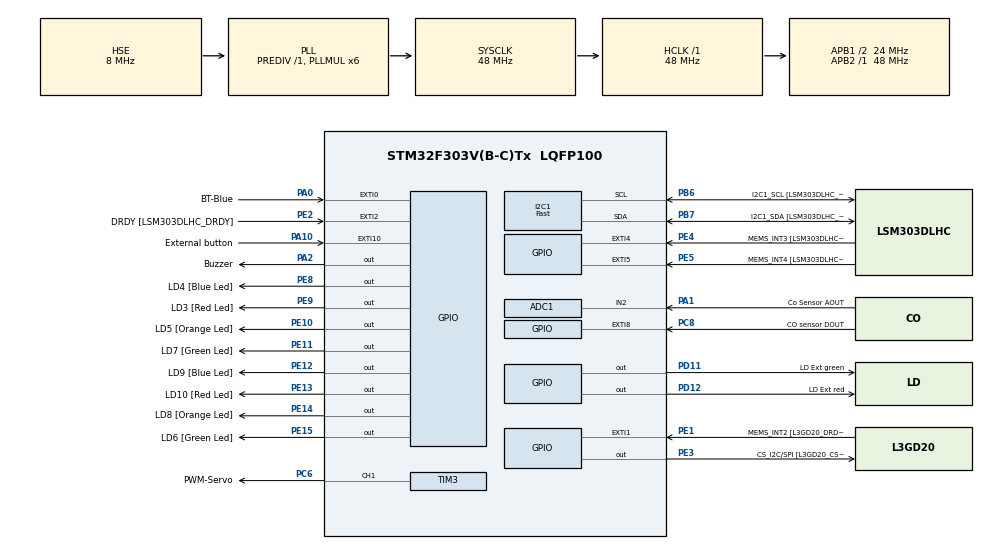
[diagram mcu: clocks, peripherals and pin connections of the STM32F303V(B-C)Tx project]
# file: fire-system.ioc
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ADC1.Channel-6\#ChannelRegularConversion=ADC_CHANNEL_2
ADC1.NbrOfConversionFlag=1
ADC1.Offset-6\#ChannelRegularConversion=0
ADC1.OffsetNumber-6\#ChannelRegularConversion=ADC_OFFSET_NONE
ADC1.Rank-6\#ChannelRegularConversion=1
ADC1.SamplingTime-6\#ChannelRegularConversion=ADC_SAMPLETIME_1CYCLE_5
ADC1.master=1
I2C1.I2C_Speed_Mode=I2C_Fast
I2C1.Timing=0x0000020B
Mcu.Family=STM32F3
Mcu.Name=STM32F303V(B-C)Tx
Mcu.Package=LQFP100
NVIC.EXTI0_IRQn=true\:0\:0\:false\:false\:true\:true\:true\:true
NVIC.EXTI15_10_IRQn=true\:0\:0\:false\:false\:true\:true\:true\:true
NVIC.EXTI9_5_IRQn=true\:0\:0\:false\:false\:true\:true\:true\:true
NVIC.PriorityGroup=NVIC_PRIORITYGROUP_0
NVIC.TIM2_IRQn=true\:0\:0\:false\:false\:true\:true\:true\:true
PA0.GPIO_Label=BT-Blue
PA0.Signal=GPXTI0
PA1.GPIO_Label=Co Sensor AOUT
PA1.Signal=SharedAnalog_PA1
PA10.GPIO_Label=External button
PA10.Signal=GPXTI10
PA11.GPIO_Label=DM
PA11.Signal=USB_DM
PA12.GPIO_Label=DP
PA12.Signal=USB_DP
PA13.GPIO_Label=SWDIO
PA13.Mode=Serial_Wire
PA13.Signal=SYS_JTMS-SWDIO
PA14.GPIO_Label=SWCLK
PA14.Mode=Serial_Wire
PA14.Signal=SYS_JTCK-SWCLK
PA15.Signal=S_TIM2_CH1_ETR
PA2.GPIO_Label=Buzzer
PA2.Signal=GPIO_Output
PA5.GPIO_Label=SPI1_SCK [L3GD20_SCL/SPC]
PA5.Signal=SPI1_SCK
PA6.GPIO_Label=SPI1_MISO [L3GD20_SA0/SDO]
PA6.Signal=SPI1_MISO
PA7.GPIO_Label=SPI1_MISO [L3GD20_SDA/SDI/SDO]
PA7.Signal=SPI1_MOSI
PB3.GPIO_Label=SWO
PB3.Signal=SYS_JTDO-TRACESWO
PB6.GPIO_Label=I2C1_SCL [LSM303DLHC_SCL]
PB6.GPIO_Pu=GPIO_PULLUP
PB6.Mode=I2C
PB6.Signal=I2C1_SCL
PB7.GPIO_Label=I2C1_SDA [LSM303DLHC_SDA]
PB7.GPIO_Pu=GPIO_PULLUP
PB7.Mode=I2C
PB7.Signal=I2C1_SDA
PC14-OSC32_IN.GPIO_Label=OSC32_IN
PC14-OSC32_IN.Signal=RCC_OSC32_IN
PC15-OSC32_OUT.GPIO_Label=OSC32_OUT
PC15-OSC32_OUT.Signal=RCC_OSC32_OUT
PC6.GPIO_Label=PWM-Servo
PC6.Signal=S_TIM3_CH1
PC8.GPIO_Label=CO sensor DOUT
PC8.Signal=GPXTI8
PD11.GPIO_Label=LD Ext green
PD11.Signal=GPIO_Output
PD12.GPIO_Label=LD Ext red
PD12.Signal=GPIO_Output
PE1.GPIO_Label=MEMS_INT2 [L3GD20_DRDY/INT2]
PE1.GPIO_ModeDefaultEXTI=GPIO_MODE_EVT_RISING
PE1.Signal=GPXTI1
PE10.GPIO_Label=LD5 [Orange Led]
PE10.Signal=GPIO_Output
PE11.GPIO_Label=LD7 [Green Led]
PE11.Signal=GPIO_Output
PE12.GPIO_Label=LD9 [Blue Led]
PE12.Signal=GPIO_Output
PE13.GPIO_Label=LD10 [Red Led]
PE13.Signal=GPIO_Output
PE14.GPIO_Label=LD8 [Orange Led]
PE14.Signal=GPIO_Output
PE15.GPIO_Label=LD6 [Green Led]
PE15.Signal=GPIO_Output
PE2.GPIO_Label=DRDY [LSM303DLHC_DRDY]
PE2.GPIO_ModeDefaultEXTI=GPIO_MODE_EVT_RISING
PE2.Signal=GPXTI2
PE3.GPIO_Label=CS_I2C/SPI [L3GD20_CS_I2C/SPI]
PE3.Signal=GPIO_Output
PE4.GPIO_Label=MEMS_INT3 [LSM303DLHC_INT1]
PE4.GPIO_ModeDefaultEXTI=GPIO_MODE_EVT_RISING
PE4.Signal=GPXTI4
PE5.GPIO_Label=MEMS_INT4 [LSM303DLHC_INT2]
PE5.GPIO_ModeDefaultEXTI=GPIO_MODE_EVT_RISING
PE5.Signal=GPXTI5
PE8.GPIO_Label=LD4 [Blue Led]
PE8.Signal=GPIO_Output
PE9.GPIO_Label=LD3 [Red Led]
PE9.Signal=GPIO_Output
PF0-OSC_IN.GPIO_Label=OSC_IN
PF0-OSC_IN.Mode=HSE-External-Oscillator
PF0-OSC_IN.Signal=RCC_OSC_IN
PF1-OSC_OUT.GPIO_Label=OSC_OUT
PF1-OSC_OUT.Mode=HSE-External-Oscillator
PF1-OSC_OUT.Signal=RCC_OSC_OUT
ProjectManager.HeapSize=0x200
ProjectManager.StackSize=0x400
ProjectManager.TargetToolchain=STM32CubeIDE
RCC.AHBFreq_Value=48000000
RCC.APB1CLKDivider=RCC_HCLK_DIV2
RCC.APB1Freq_Value=24000000
RCC.APB1TimFreq_Value=48000000
RCC.APB2Freq_Value=48000000
RCC.APB2TimFreq_Value=48000000
RCC.CortexFreq_Value=48000000
RCC.HCLKFreq_Value=48000000
RCC.HSE_VALUE=8000000
RCC.HSI_VALUE=8000000
RCC.LSE_VALUE=32768
RCC.PLLMUL=RCC_PLL_MUL6
RCC.PLLSourceVirtual=RCC_PLLSOURCE_HSE
RCC.SYSCLKFreq_VALUE=48000000
RCC.SYSCLKSourceVirtual=RCC_SYSCLKSOURCE_PLLCLK
RCC.USBFreq_Value=48000000
SH.S_TIM2_CH1_ETR.0=TIM2_CH1
SH.S_TIM3_CH1.0=TIM3_CH1,PWM Generation1 CH1
SH.SharedAnalog_PA1.0=GPIO_Analog
SH.SharedAnalog_PA1.1=ADC1_IN2,IN2-Single-Ended
TIM2.AutoReloadPreload=TIM_AUTORELOAD_PRELOAD_DISABLE
TIM2.Period=1000000-1
TIM2.Prescaler=47
TIM3.Channel-PWM\ Generation1\ CH1=TIM_CHANNEL_1
TIM3.Period=20000-1
TIM3.Prescaler=47
VP_TIM2_VS_ClockSourceINT.Mode=Internal
VP_TIM3_VS_ClockSourceINT.Mode=Internal
board=STM32F3DISCOVERY

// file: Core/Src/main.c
/* USER CODE BEGIN Header */
/**
  ******************************************************************************
  * @file           : main.c
  * @brief          : Main program body
  ******************************************************************************
  * @attention
  *
  * Copyright (c) 2023 STMicroelectronics.
  * All rights reserved.
  *
  * This software is licensed under terms that can be found in the LICENSE file
  * in the root directory of this software component.
  * If no LICENSE file comes with this software, it is provided AS-IS.
  *
  ******************************************************************************
  */
/* USER CODE END Header */
#include "main.h"

/* USER CODE BEGIN Includes */
#include "ssd1306.h"
#include <math.h>
#include <stdio.h>

/* USER CODE END Includes */

/* USER CODE BEGIN PD */
#define R0 35816.0

#define BLUE_BUTTON_MASK 0x0001
#define EXT_BUTTON_MASK  0x0400
#define EXT_CO_SENSOR    0x0100

#define ADC_RESOLUTION 4095.0

/* USER CODE END PD */

ADC_HandleTypeDef hadc1;

I2C_HandleTypeDef hi2c1;

TIM_HandleTypeDef htim2;
TIM_HandleTypeDef htim3;

/* USER CODE BEGIN PV */
int on = 1;
int on_fire = 0;

// 'Among-Us-Symbol', 128x64px
const unsigned char amongus_bitmap[] = {
	0xff, 0xff, 0xff, 0xff, 0xff, 0xff, 0xff, 0xff, 0xff, 0xff, 0xff, 0xff, 0xff, 0xff, 0xff, 0xff,
	0xff, 0xff, 0xff, 0xff, 0xff, 0xff, 0xff, 0xff, 0xff, 0xff, 0xff, 0xff, 0xff, 0xff, 0xff, 0xff,
	0xff, 0xff, 0xff, 0xff, 0xff, 0xff, 0xff, 0xe0, 0x00, 0xff, 0xff, 0xff, 0xff, 0xff, 0xff, 0xff,
	0xff, 0xff, 0xff, 0xff, 0xff, 0xff, 0xff, 0x80, 0x00, 0x1f, 0xff, 0xff, 0xff, 0xff, 0xff, 0xff,
	0xff, 0xff, 0xff, 0xff, 0xff, 0xff, 0xff, 0x00, 0x00, 0x07, 0xff, 0xff, 0xff, 0xff, 0xff, 0xff,
	0xff, 0xff, 0xff, 0xff, 0xff, 0xff, 0xfe, 0x00, 0x00, 0x03, 0xff, 0xff, 0xff, 0xff, 0xff, 0xff,
	0xff, 0xff, 0xff, 0xff, 0xff, 0xff, 0xfc, 0x00, 0x00, 0x01, 0xff, 0xff, 0xff, 0xff, 0xff, 0xff,
	0xff, 0xff, 0xff, 0xff, 0xff, 0xff, 0xfc, 0x00, 0x00, 0x00, 0xff, 0xff, 0xff, 0xff, 0xff, 0xff,
	0xff, 0xff, 0xff, 0xff, 0xff, 0xff, 0xf8, 0x00, 0x00, 0x00, 0x7f, 0xff, 0xff, 0xff, 0xff, 0xff,
	0xff, 0xff, 0xff, 0xff, 0xff, 0xff, 0xf8, 0x00, 0x00, 0x00, 0x7f, 0xff, 0xff, 0xff, 0xff, 0xff,
	0xff, 0xff, 0xff, 0xff, 0xff, 0xff, 0xf0, 0x00, 0x00, 0x00, 0x3f, 0xff, 0xff, 0xff, 0xff, 0xff,
	0xff, 0xff, 0xff, 0xff, 0xff, 0xff, 0xf0, 0x00, 0x00, 0x00, 0x3f, 0xff, 0xff, 0xff, 0xff, 0xff,
	0xff, 0xff, 0xff, 0xff, 0xff, 0xff, 0xf0, 0x00, 0x00, 0x00, 0x1f, 0xff, 0xff, 0xff, 0xff, 0xff,
	0xff, 0xff, 0xff, 0xff, 0xff, 0xff, 0xe0, 0x00, 0x01, 0xe0, 0x0f, 0xff, 0xff, 0xff, 0xff, 0xff,
	0xff, 0xff, 0xff, 0xff, 0xff, 0xff, 0xe0, 0x00, 0x3f, 0xfe, 0x07, 0xff, 0xff, 0xff, 0xff, 0xff,
	0xff, 0xff, 0xff, 0xff, 0xff, 0xff, 0xe0, 0x00, 0x7f, 0xff, 0x83, 0xff, 0xff, 0xff, 0xff, 0xff,
	0xff, 0xff, 0xff, 0xff, 0xff, 0xff, 0xe0, 0x00, 0x3f, 0xff, 0xc3, 0xff, 0xff, 0xff, 0xff, 0xff,
	0xff, 0xff, 0xff, 0xff, 0xff, 0xff, 0x80, 0x00, 0x3f, 0xff, 0xe1, 0xff, 0xff, 0xff, 0xff, 0xff,
	0xff, 0xff, 0xff, 0xff, 0xff, 0xf8, 0x00, 0x00, 0x3f, 0xff, 0xe1, 0xff, 0xff, 0xff, 0xff, 0xff,
	0xff, 0xff, 0xff, 0xff, 0xff, 0xf0, 0x00, 0x00, 0x1f, 0xff, 0xe1, 0xff, 0xff, 0xff, 0xff, 0xff,
	0xff, 0xff, 0xff, 0xff, 0xff, 0xe0, 0x00, 0x00, 0x0f, 0xff, 0xc1, 0xff, 0xff, 0xff, 0xff, 0xff,
	0xff, 0xff, 0xff, 0xff, 0xff, 0xe0, 0x00, 0x00, 0x01, 0xe0, 0x01, 0xff, 0xff, 0xff, 0xff, 0xff,
	0xff, 0xff, 0xff, 0xff, 0xff, 0xc0, 0x00, 0x00, 0x00, 0x00, 0x01, 0xff, 0xff, 0xff, 0xff, 0xff,
	0xff, 0xff, 0xff, 0xff, 0xff, 0xc0, 0x00, 0x00, 0x00, 0x00, 0x01, 0xff, 0xff, 0xff, 0xff, 0xff,
	0xff, 0xff, 0xff, 0xff, 0xff, 0xc0, 0x00, 0x00, 0x00, 0x00, 0x03, 0xff, 0xff, 0xff, 0xff, 0xff,
	0xff, 0xff, 0xff, 0xff, 0xff, 0xc0, 0x00, 0x00, 0x00, 0x00, 0x03, 0xff, 0xff, 0xff, 0xff, 0xff,
	0xff, 0xff, 0xff, 0xff, 0xff, 0xc0, 0x00, 0x00, 0x00, 0x00, 0x07, 0xff, 0xff, 0xff, 0xff, 0xff,
	0xff, 0xff, 0xff, 0xff, 0xff, 0xc0, 0x00, 0x00, 0x00, 0x00, 0x07, 0xff, 0xff, 0xff, 0xff, 0xff,
	0xff, 0xff, 0xff, 0xff, 0xff, 0xc0, 0x00, 0x00, 0x00, 0x00, 0x07, 0xff, 0xff, 0xff, 0xff, 0xff,
	0xff, 0xff, 0xff, 0xff, 0xff, 0xc0, 0x00, 0x00, 0x00, 0x00, 0x07, 0xff, 0xff, 0xff, 0xff, 0xff,
	0xff, 0xff, 0xff, 0xff, 0xff, 0xc0, 0x00, 0x00, 0x00, 0x00, 0x07, 0xff, 0xff, 0xff, 0xff, 0xff,
	0xff, 0xff, 0xff, 0xff, 0xff, 0xc0, 0x00, 0x00, 0x00, 0x00, 0x07, 0xff, 0xff, 0xff, 0xff, 0xff,
	0xff, 0xff, 0xff, 0xff, 0xff, 0xc0, 0x00, 0x00, 0x00, 0x00, 0x07, 0xff, 0xff, 0xff, 0xff, 0xff,
	0xff, 0xff, 0xff, 0xff, 0xff, 0xc0, 0x00, 0x00, 0x00, 0x00, 0x07, 0xff, 0xff, 0xff, 0xff, 0xff,
	0xff, 0xff, 0xff, 0xff, 0xff, 0xc0, 0x00, 0x00, 0x00, 0x00, 0x07, 0xff, 0xff, 0xff, 0xff, 0xff,
	0xff, 0xff, 0xff, 0xff, 0xff, 0xc0, 0x00, 0x00, 0x00, 0x00, 0x07, 0xff, 0xff, 0xff, 0xff, 0xff,
	0xff, 0xff, 0xff, 0xff, 0xff, 0xc0, 0x00, 0x00, 0x00, 0x00, 0x07, 0xff, 0xff, 0xff, 0xff, 0xff,
	0xff, 0xff, 0xff, 0xff, 0xff, 0xc0, 0x00, 0x00, 0x00, 0x00, 0x07, 0xff, 0xff, 0xff, 0xff, 0xff,
	0xff, 0xff, 0xff, 0xff, 0xff, 0xc0, 0x00, 0x00, 0x00, 0x00, 0x07, 0xff, 0xff, 0xff, 0xff, 0xff,
	0xff, 0xff, 0xff, 0xff, 0xff, 0xc0, 0x00, 0x00, 0x00, 0x00, 0x07, 0xff, 0xff, 0xff, 0xff, 0xff,
	0xff, 0xff, 0xff, 0xff, 0xff, 0xc0, 0x00, 0x00, 0x00, 0x00, 0x07, 0xff, 0xff, 0xff, 0xff, 0xff,
	0xff, 0xff, 0xff, 0xff, 0xff, 0xc0, 0x00, 0x00, 0x00, 0x00, 0x07, 0xff, 0xff, 0xff, 0xff, 0xff,
	0xff, 0xff, 0xff, 0xff, 0xff, 0xc0, 0x00, 0x00, 0x00, 0x00, 0x07, 0xff, 0xff, 0xff, 0xff, 0xff,
	0xff, 0xff, 0xff, 0xff, 0xff, 0xc0, 0x00, 0x00, 0x00, 0x00, 0x0f, 0xff, 0xff, 0xff, 0xff, 0xff,
	0xff, 0xff, 0xff, 0xff, 0xff, 0xe0, 0x00, 0x00, 0x00, 0x00, 0x0f, 0xff, 0xff, 0xff, 0xff, 0xff,
	0xff, 0xff, 0xff, 0xff, 0xff, 0xe0, 0x00, 0x00, 0x00, 0x00, 0x0f, 0xff, 0xff, 0xff, 0xff, 0xff,
	0xff, 0xff, 0xff, 0xff, 0xff, 0xf0, 0x00, 0x00, 0x00, 0x00, 0x0f, 0xff, 0xff, 0xff, 0xff, 0xff,
	0xff, 0xff, 0xff, 0xff, 0xff, 0xf0, 0x00, 0x00, 0x00, 0x00, 0x0f, 0xff, 0xff, 0xff, 0xff, 0xff,
	0xff, 0xff, 0xff, 0xff, 0xff, 0xfc, 0x00, 0x00, 0x00, 0x00, 0x0f, 0xff, 0xff, 0xff, 0xff, 0xff,
	0xff, 0xff, 0xff, 0xff, 0xff, 0xff, 0xc0, 0x00, 0x00, 0x00, 0x1f, 0xff, 0xff, 0xff, 0xff, 0xff,
	0xff, 0xff, 0xff, 0xff, 0xff, 0xff, 0xe0, 0x00, 0x18, 0x00, 0x1f, 0xff, 0xff, 0xff, 0xff, 0xff,
	0xff, 0xff, 0xff, 0xff, 0xff, 0xff, 0xe0, 0x00, 0x18, 0x00, 0x1f, 0xff, 0xff, 0xff, 0xff, 0xff,
	0xff, 0xff, 0xff, 0xff, 0xff, 0xff, 0xe0, 0x00, 0x18, 0x00, 0x1f, 0xff, 0xff, 0xff, 0xff, 0xff,
	0xff, 0xff, 0xff, 0xff, 0xff, 0xff, 0xe0, 0x00, 0x18, 0x00, 0x1f, 0xff, 0xff, 0xff, 0xff, 0xff,
	0xff, 0xff, 0xff, 0xff, 0xff, 0xff, 0xe0, 0x00, 0x18, 0x00, 0x3f, 0xff, 0xff, 0xff, 0xff, 0xff,
	0xff, 0xff, 0xff, 0xff, 0xff, 0xff, 0xe0, 0x00, 0x00, 0x00, 0x3f, 0xff, 0xff, 0xff, 0xff, 0xff,
	0xff, 0xff, 0xff, 0xff, 0xff, 0xff, 0x80, 0x00, 0x00, 0x00, 0x1f, 0xff, 0xff, 0xff, 0xff, 0xff,
	0xff, 0xff, 0xff, 0xff, 0xff, 0xfe, 0x00, 0x00, 0x00, 0x00, 0x03, 0xff, 0xff, 0xff, 0xff, 0xff,
	0xff, 0xff, 0xff, 0xff, 0xff, 0xfc, 0x00, 0x00, 0x00, 0x00, 0x01, 0xff, 0xff, 0xff, 0xff, 0xff,
	0xff, 0xff, 0xff, 0xff, 0xff, 0xfc, 0x00, 0x00, 0x00, 0x00, 0x01, 0xff, 0xff, 0xff, 0xff, 0xff,
	0xff, 0xff, 0xff, 0xff, 0xff, 0xfe, 0x00, 0x00, 0x00, 0x00, 0x03, 0xff, 0xff, 0xff, 0xff, 0xff,
	0xff, 0xff, 0xff, 0xff, 0xff, 0xff, 0xc0, 0x00, 0x00, 0x00, 0x1f, 0xff, 0xff, 0xff, 0xff, 0xff,
	0xff, 0xff, 0xff, 0xff, 0xff, 0xff, 0xff, 0xc0, 0x00, 0x3f, 0xff, 0xff, 0xff, 0xff, 0xff, 0xff,
	0xff, 0xff, 0xff, 0xff, 0xff, 0xff, 0xff, 0xff, 0xff, 0xff, 0xff, 0xff, 0xff, 0xff, 0xff, 0xff
};

/* USER CODE END PV */

void SystemClock_Config(void);
static void MX_GPIO_Init(void);
static void MX_ADC1_Init(void);
static void MX_TIM2_Init(void);
static void MX_TIM3_Init(void);
static void MX_I2C1_Init(void);
/* USER CODE BEGIN PFP */
float read_co(ADC_HandleTypeDef hadc, float* vout, int *raw);
void handle_alarm();

/* USER CODE END PFP */

/* USER CODE BEGIN 0 */
void HAL_TIM_PeriodElapsedCallback(TIM_HandleTypeDef *htim) {
	float co, co_vout;
	char message [128] = "\0";
	int adc_out, y = 0;

	// co
	co = read_co(hadc1, &co_vout, &adc_out);

	ssd1306_Fill(Black);

	if (on_fire == 1) {
		ssd1306_SetCursor(32, y);
	    ssd1306_WriteString("ALLARME", Font_7x10, White);
	} else if (on == 1) {
		ssd1306_SetCursor(2, y);
	    ssd1306_WriteString("Monit. ON", Font_7x10, White);
	} else if (on == 0) {
		ssd1306_SetCursor(2, y);
		ssd1306_WriteString("Monit. OFF", Font_7x10, White);
	}

	y+=16;
	ssd1306_SetCursor(2, y);
	sprintf(message, "CO: %.2f ppm", co);
	ssd1306_WriteString(message, Font_7x10, White);

	y+=12;
	ssd1306_SetCursor(2, y);
	sprintf(message, "V Out: %.2f V", co_vout);
	ssd1306_WriteString(message, Font_7x10, White);

	y+=12;
	ssd1306_SetCursor(2, y);
	sprintf(message, "ADC Out: %d", adc_out);
	ssd1306_WriteString(message, Font_7x10, White);

	// ssd1306_DrawBitmap(64, 32, amongus_bitmap, 128, 64, White);
	ssd1306_UpdateScreen();

	// pin
 	HAL_GPIO_TogglePin(GPIOE, GPIO_PIN_15);

}

float read_co(ADC_HandleTypeDef hadc, float *v_out, int* raw) {
	float rs = 0, ratio = 0, sensor_tension = 0;
	int adc_out = 0;

	HAL_ADC_Start(&hadc);
	HAL_ADC_PollForConversion(&hadc, 1);
	adc_out = HAL_ADC_GetValue(&hadc);

	sensor_tension = adc_out/ADC_RESOLUTION*5.0;
	rs = (5.0-sensor_tension)/sensor_tension;
	ratio = rs/R0;
	float x = 1538.46 * ratio;

	*raw = adc_out;
	*v_out = sensor_tension;
	return pow(x,-1.709);
}

void HAL_GPIO_EXTI_Callback(uint16_t GPIO_Pin) {
  // pulsante esterno
  if ((GPIO_Pin & ~EXT_BUTTON_MASK) == 0) {
	  on = !on;
	  on_fire = 0;
	  HAL_GPIO_TogglePin(GPIOD, GPIO_PIN_12);
	  HAL_GPIO_WritePin(GPIOD, GPIO_PIN_11, GPIO_PIN_RESET);
	  HAL_GPIO_WritePin(GPIOA, GPIO_PIN_2, GPIO_PIN_RESET);
	  __HAL_TIM_SET_COMPARE(&htim3, TIM_CHANNEL_1, 1500);
  }

  // pulsante interno
  if ((GPIO_Pin & ~BLUE_BUTTON_MASK) == 0) {
	  handle_alarm();
  }

  // co-dout
  if ((GPIO_Pin & ~EXT_CO_SENSOR) == 0) {
	  handle_alarm();
    }

}

void handle_alarm() {

	if (on == 0) return;

	// set on_fire true
	on_fire = 1;

	// buzzer on
	HAL_GPIO_WritePin(GPIOA, GPIO_PIN_2, GPIO_PIN_SET);

	// red led on
	HAL_GPIO_WritePin(GPIOD, GPIO_PIN_11, GPIO_PIN_SET);

	// servo 90°
	__HAL_TIM_SET_COMPARE(&htim3, TIM_CHANNEL_1, 2350);

}
/* USER CODE END 0 */

int main(void)
{

  /* MCU Configuration--------------------------------------------------------*/

  /* Reset of all peripherals, Initializes the Flash interface and the Systick. */
  HAL_Init();

  /* Configure the system clock */
  SystemClock_Config();

  /* Initialize all configured peripherals */
  MX_GPIO_Init();
  MX_ADC1_Init();
  MX_TIM2_Init();
  MX_TIM3_Init();
  MX_I2C1_Init();
  /* USER CODE BEGIN 2 */
  HAL_TIM_PWM_Start(&htim3, TIM_CHANNEL_1);
  HAL_TIM_Base_Start_IT(&htim2);
  HAL_GPIO_WritePin(GPIOD, GPIO_PIN_12, GPIO_PIN_SET);
  ssd1306_Init();

  /* USER CODE END 2 */

  /* Infinite loop */
  /* USER CODE BEGIN WHILE */
  __HAL_TIM_SET_COMPARE(&htim3, TIM_CHANNEL_1, 1500);

  while (1)
  {
    /* USER CODE END WHILE */

  }
}

void SystemClock_Config(void)
{
  RCC_OscInitTypeDef RCC_OscInitStruct = {0};
  RCC_ClkInitTypeDef RCC_ClkInitStruct = {0};
  RCC_PeriphCLKInitTypeDef PeriphClkInit = {0};

  /** Initializes the RCC Oscillators according to the specified parameters
  * in the RCC_OscInitTypeDef structure.
  */
  RCC_OscInitStruct.OscillatorType = RCC_OSCILLATORTYPE_HSI|RCC_OSCILLATORTYPE_HSE;
  RCC_OscInitStruct.HSEState = RCC_HSE_ON;
  RCC_OscInitStruct.HSEPredivValue = RCC_HSE_PREDIV_DIV1;
  RCC_OscInitStruct.HSIState = RCC_HSI_ON;
  RCC_OscInitStruct.HSICalibrationValue = RCC_HSICALIBRATION_DEFAULT;
  RCC_OscInitStruct.PLL.PLLState = RCC_PLL_ON;
  RCC_OscInitStruct.PLL.PLLSource = RCC_PLLSOURCE_HSE;
  RCC_OscInitStruct.PLL.PLLMUL = RCC_PLL_MUL6;
  if (HAL_RCC_OscConfig(&RCC_OscInitStruct) != HAL_OK)
  {
    Error_Handler();
  }

  /** Initializes the CPU, AHB and APB buses clocks
  */
  RCC_ClkInitStruct.ClockType = RCC_CLOCKTYPE_HCLK|RCC_CLOCKTYPE_SYSCLK
                              |RCC_CLOCKTYPE_PCLK1|RCC_CLOCKTYPE_PCLK2;
  RCC_ClkInitStruct.SYSCLKSource = RCC_SYSCLKSOURCE_PLLCLK;
  RCC_ClkInitStruct.AHBCLKDivider = RCC_SYSCLK_DIV1;
  RCC_ClkInitStruct.APB1CLKDivider = RCC_HCLK_DIV2;
  RCC_ClkInitStruct.APB2CLKDivider = RCC_HCLK_DIV1;

  if (HAL_RCC_ClockConfig(&RCC_ClkInitStruct, FLASH_LATENCY_1) != HAL_OK)
  {
    Error_Handler();
  }
  PeriphClkInit.PeriphClockSelection = RCC_PERIPHCLK_I2C1|RCC_PERIPHCLK_ADC12;
  PeriphClkInit.Adc12ClockSelection = RCC_ADC12PLLCLK_DIV1;
  PeriphClkInit.I2c1ClockSelection = RCC_I2C1CLKSOURCE_HSI;
  if (HAL_RCCEx_PeriphCLKConfig(&PeriphClkInit) != HAL_OK)
  {
    Error_Handler();
  }
}

static void MX_ADC1_Init(void)
{

  ADC_MultiModeTypeDef multimode = {0};
  ADC_ChannelConfTypeDef sConfig = {0};

  /** Common config
  */
  hadc1.Instance = ADC1;
  hadc1.Init.ClockPrescaler = ADC_CLOCK_ASYNC_DIV1;
  hadc1.Init.Resolution = ADC_RESOLUTION_12B;
  hadc1.Init.ScanConvMode = ADC_SCAN_DISABLE;
  hadc1.Init.ContinuousConvMode = DISABLE;
  hadc1.Init.DiscontinuousConvMode = DISABLE;
  hadc1.Init.ExternalTrigConvEdge = ADC_EXTERNALTRIGCONVEDGE_NONE;
  hadc1.Init.ExternalTrigConv = ADC_SOFTWARE_START;
  hadc1.Init.DataAlign = ADC_DATAALIGN_RIGHT;
  hadc1.Init.NbrOfConversion = 1;
  hadc1.Init.DMAContinuousRequests = DISABLE;
  hadc1.Init.EOCSelection = ADC_EOC_SINGLE_CONV;
  hadc1.Init.LowPowerAutoWait = DISABLE;
  hadc1.Init.Overrun = ADC_OVR_DATA_OVERWRITTEN;
  if (HAL_ADC_Init(&hadc1) != HAL_OK)
  {
    Error_Handler();
  }

  /** Configure the ADC multi-mode
  */
  multimode.Mode = ADC_MODE_INDEPENDENT;
  if (HAL_ADCEx_MultiModeConfigChannel(&hadc1, &multimode) != HAL_OK)
  {
    Error_Handler();
  }

  /** Configure Regular Channel
  */
  sConfig.Channel = ADC_CHANNEL_2;
  sConfig.Rank = ADC_REGULAR_RANK_1;
  sConfig.SingleDiff = ADC_SINGLE_ENDED;
  sConfig.SamplingTime = ADC_SAMPLETIME_1CYCLE_5;
  sConfig.OffsetNumber = ADC_OFFSET_NONE;
  sConfig.Offset = 0;
  if (HAL_ADC_ConfigChannel(&hadc1, &sConfig) != HAL_OK)
  {
    Error_Handler();
  }

}

static void MX_I2C1_Init(void)
{

  hi2c1.Instance = I2C1;
  hi2c1.Init.Timing = 0x0000020B;
  hi2c1.Init.OwnAddress1 = 0;
  hi2c1.Init.AddressingMode = I2C_ADDRESSINGMODE_7BIT;
  hi2c1.Init.DualAddressMode = I2C_DUALADDRESS_DISABLE;
  hi2c1.Init.OwnAddress2 = 0;
  hi2c1.Init.OwnAddress2Masks = I2C_OA2_NOMASK;
  hi2c1.Init.GeneralCallMode = I2C_GENERALCALL_DISABLE;
  hi2c1.Init.NoStretchMode = I2C_NOSTRETCH_DISABLE;
  if (HAL_I2C_Init(&hi2c1) != HAL_OK)
  {
    Error_Handler();
  }

  /** Configure Analogue filter
  */
  if (HAL_I2CEx_ConfigAnalogFilter(&hi2c1, I2C_ANALOGFILTER_ENABLE) != HAL_OK)
  {
    Error_Handler();
  }

  /** Configure Digital filter
  */
  if (HAL_I2CEx_ConfigDigitalFilter(&hi2c1, 0) != HAL_OK)
  {
    Error_Handler();
  }

}

static void MX_TIM2_Init(void)
{

  TIM_ClockConfigTypeDef sClockSourceConfig = {0};
  TIM_MasterConfigTypeDef sMasterConfig = {0};

  htim2.Instance = TIM2;
  htim2.Init.Prescaler = 47;
  htim2.Init.CounterMode = TIM_COUNTERMODE_UP;
  htim2.Init.Period = 1000000-1;
  htim2.Init.ClockDivision = TIM_CLOCKDIVISION_DIV1;
  htim2.Init.AutoReloadPreload = TIM_AUTORELOAD_PRELOAD_DISABLE;
  if (HAL_TIM_Base_Init(&htim2) != HAL_OK)
  {
    Error_Handler();
  }
  sClockSourceConfig.ClockSource = TIM_CLOCKSOURCE_INTERNAL;
  if (HAL_TIM_ConfigClockSource(&htim2, &sClockSourceConfig) != HAL_OK)
  {
    Error_Handler();
  }
  sMasterConfig.MasterOutputTrigger = TIM_TRGO_RESET;
  sMasterConfig.MasterSlaveMode = TIM_MASTERSLAVEMODE_DISABLE;
  if (HAL_TIMEx_MasterConfigSynchronization(&htim2, &sMasterConfig) != HAL_OK)
  {
    Error_Handler();
  }

}

static void MX_TIM3_Init(void)
{

  TIM_ClockConfigTypeDef sClockSourceConfig = {0};
  TIM_MasterConfigTypeDef sMasterConfig = {0};
  TIM_OC_InitTypeDef sConfigOC = {0};

  htim3.Instance = TIM3;
  htim3.Init.Prescaler = 47;
  htim3.Init.CounterMode = TIM_COUNTERMODE_UP;
  htim3.Init.Period = 20000-1;
  htim3.Init.ClockDivision = TIM_CLOCKDIVISION_DIV1;
  htim3.Init.AutoReloadPreload = TIM_AUTORELOAD_PRELOAD_DISABLE;
  if (HAL_TIM_Base_Init(&htim3) != HAL_OK)
  {
    Error_Handler();
  }
  sClockSourceConfig.ClockSource = TIM_CLOCKSOURCE_INTERNAL;
  if (HAL_TIM_ConfigClockSource(&htim3, &sClockSourceConfig) != HAL_OK)
  {
    Error_Handler();
  }
  if (HAL_TIM_PWM_Init(&htim3) != HAL_OK)
  {
    Error_Handler();
  }
  sMasterConfig.MasterOutputTrigger = TIM_TRGO_RESET;
  sMasterConfig.MasterSlaveMode = TIM_MASTERSLAVEMODE_DISABLE;
  if (HAL_TIMEx_MasterConfigSynchronization(&htim3, &sMasterConfig) != HAL_OK)
  {
    Error_Handler();
  }
  sConfigOC.OCMode = TIM_OCMODE_PWM1;
  sConfigOC.Pulse = 0;
  sConfigOC.OCPolarity = TIM_OCPOLARITY_HIGH;
  sConfigOC.OCFastMode = TIM_OCFAST_DISABLE;
  if (HAL_TIM_PWM_ConfigChannel(&htim3, &sConfigOC, TIM_CHANNEL_1) != HAL_OK)
  {
    Error_Handler();
  }
  HAL_TIM_MspPostInit(&htim3);

}

static void MX_GPIO_Init(void)
{
  GPIO_InitTypeDef GPIO_InitStruct = {0};

  /* GPIO Ports Clock Enable */
  __HAL_RCC_GPIOE_CLK_ENABLE();
  __HAL_RCC_GPIOC_CLK_ENABLE();
  __HAL_RCC_GPIOF_CLK_ENABLE();
  __HAL_RCC_GPIOA_CLK_ENABLE();
  __HAL_RCC_GPIOD_CLK_ENABLE();
  __HAL_RCC_GPIOB_CLK_ENABLE();

  /*Configure GPIO pin Output Level */
  HAL_GPIO_WritePin(GPIOE, CS_I2C_SPI_Pin|LD4_Pin|LD3_Pin|LD5_Pin
                          |LD7_Pin|LD9_Pin|LD10_Pin|LD8_Pin
                          |LD6_Pin, GPIO_PIN_RESET);

  /*Configure GPIO pin Output Level */
  HAL_GPIO_WritePin(Buzzer_GPIO_Port, Buzzer_Pin, GPIO_PIN_RESET);

  /*Configure GPIO pin Output Level */
  HAL_GPIO_WritePin(GPIOD, LD_Ext_red_Pin|LD_Ext_green_Pin, GPIO_PIN_RESET);

  /*Configure GPIO pins : DRDY_Pin MEMS_INT3_Pin MEMS_INT4_Pin MEMS_INT2_Pin */
  GPIO_InitStruct.Pin = DRDY_Pin|MEMS_INT3_Pin|MEMS_INT4_Pin|MEMS_INT2_Pin;
  GPIO_InitStruct.Mode = GPIO_MODE_EVT_RISING;
  GPIO_InitStruct.Pull = GPIO_NOPULL;
  HAL_GPIO_Init(GPIOE, &GPIO_InitStruct);

  /*Configure GPIO pins : CS_I2C_SPI_Pin LD4_Pin LD3_Pin LD5_Pin
                           LD7_Pin LD9_Pin LD10_Pin LD8_Pin
                           LD6_Pin */
  GPIO_InitStruct.Pin = CS_I2C_SPI_Pin|LD4_Pin|LD3_Pin|LD5_Pin
                          |LD7_Pin|LD9_Pin|LD10_Pin|LD8_Pin
                          |LD6_Pin;
  GPIO_InitStruct.Mode = GPIO_MODE_OUTPUT_PP;
  GPIO_InitStruct.Pull = GPIO_NOPULL;
  GPIO_InitStruct.Speed = GPIO_SPEED_FREQ_LOW;
  HAL_GPIO_Init(GPIOE, &GPIO_InitStruct);

  /*Configure GPIO pins : BT_Blue_Pin External_button_Pin */
  GPIO_InitStruct.Pin = BT_Blue_Pin|External_button_Pin;
  GPIO_InitStruct.Mode = GPIO_MODE_IT_RISING;
  GPIO_InitStruct.Pull = GPIO_NOPULL;
  HAL_GPIO_Init(GPIOA, &GPIO_InitStruct);

  /*Configure GPIO pin : Buzzer_Pin */
  GPIO_InitStruct.Pin = Buzzer_Pin;
  GPIO_InitStruct.Mode = GPIO_MODE_OUTPUT_PP;
  GPIO_InitStruct.Pull = GPIO_NOPULL;
  GPIO_InitStruct.Speed = GPIO_SPEED_FREQ_LOW;
  HAL_GPIO_Init(Buzzer_GPIO_Port, &GPIO_InitStruct);

  /*Configure GPIO pins : SPI1_SCK_Pin SPI1_MISO_Pin SPI1_MISOA7_Pin */
  GPIO_InitStruct.Pin = SPI1_SCK_Pin|SPI1_MISO_Pin|SPI1_MISOA7_Pin;
  GPIO_InitStruct.Mode = GPIO_MODE_AF_PP;
  GPIO_InitStruct.Pull = GPIO_NOPULL;
  GPIO_InitStruct.Speed = GPIO_SPEED_FREQ_HIGH;
  GPIO_InitStruct.Alternate = GPIO_AF5_SPI1;
  HAL_GPIO_Init(GPIOA, &GPIO_InitStruct);

  /*Configure GPIO pins : LD_Ext_red_Pin LD_Ext_green_Pin */
  GPIO_InitStruct.Pin = LD_Ext_red_Pin|LD_Ext_green_Pin;
  GPIO_InitStruct.Mode = GPIO_MODE_OUTPUT_PP;
  GPIO_InitStruct.Pull = GPIO_NOPULL;
  GPIO_InitStruct.Speed = GPIO_SPEED_FREQ_LOW;
  HAL_GPIO_Init(GPIOD, &GPIO_InitStruct);

  /*Configure GPIO pin : CO_sensor_DOUT_Pin */
  GPIO_InitStruct.Pin = CO_sensor_DOUT_Pin;
  GPIO_InitStruct.Mode = GPIO_MODE_IT_RISING;
  GPIO_InitStruct.Pull = GPIO_NOPULL;
  HAL_GPIO_Init(CO_sensor_DOUT_GPIO_Port, &GPIO_InitStruct);

  /*Configure GPIO pins : DM_Pin DP_Pin */
  GPIO_InitStruct.Pin = DM_Pin|DP_Pin;
  GPIO_InitStruct.Mode = GPIO_MODE_AF_PP;
  GPIO_InitStruct.Pull = GPIO_NOPULL;
  GPIO_InitStruct.Speed = GPIO_SPEED_FREQ_HIGH;
  GPIO_InitStruct.Alternate = GPIO_AF14_USB;
  HAL_GPIO_Init(GPIOA, &GPIO_InitStruct);

  /* EXTI interrupt init*/
  HAL_NVIC_SetPriority(EXTI0_IRQn, 0, 0);
  HAL_NVIC_EnableIRQ(EXTI0_IRQn);

  HAL_NVIC_SetPriority(EXTI9_5_IRQn, 0, 0);
  HAL_NVIC_EnableIRQ(EXTI9_5_IRQn);

  HAL_NVIC_SetPriority(EXTI15_10_IRQn, 0, 0);
  HAL_NVIC_EnableIRQ(EXTI15_10_IRQn);

}

void Error_Handler(void)
{
  __disable_irq();
  while (1)
  {
  }
}
